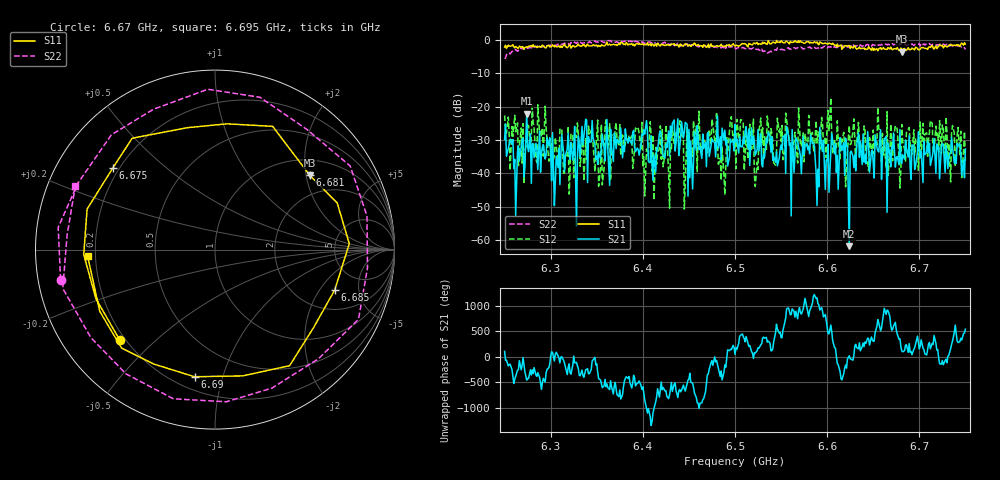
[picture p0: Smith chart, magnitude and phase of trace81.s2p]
# Hz S RI R 50
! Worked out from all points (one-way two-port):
!   401 points, 6.25 GHz to 6.75 GHz, reference 50 ohm
!   highest |S21| = -22.10 dB at 6.274 GHz (marker M1); lowest = -61.8 dB at 6.624 GHz (marker M2)
!   lowest |S11| = -3.5 dB at 6.681 GHz (marker M3), VSWR 5.08, Z = 69.6 + j105 ohm
!   |S11| at or under -10 dB: nowhere
!   |S22| runs from -5.6 to -0.2 dB; largest |S21 - S12| = 0.15
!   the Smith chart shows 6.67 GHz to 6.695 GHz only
!   S11 on the Smith chart (normalised r, x): 6.67 GHz: 0.18, -0.39; 6.675 GHz: 0.18, +0.34; 6.681 GHz: 1.39, +2.10; 6.685 GHz: 3.13, -2.79; 6.69 GHz: 0.28, -0.81; 6.695 GHz: 0.17, -0.02
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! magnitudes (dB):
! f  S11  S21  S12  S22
! 6.25 GHz  -2.1  -29.8  -22.6  -5.6
! 6.274 GHz  -2.1  -22.1  -30.7  -2.4
! 6.306 GHz  -2.1  -34.9  -31.7  -1.6
! 6.334 GHz  -1.9  -25.9  -31.2  -1.0
! 6.418 GHz  -1.7  -28.0  -32.8  -0.9
! 6.44 GHz  -1.5  -32.3  -24.2  -2.0
! 6.446 GHz  -1.2  -24.7  -43.2  -1.5
! 6.478 GHz  -2.0  -30.8  -30.3  -2.2
! 6.488 GHz  -1.9  -29.9  -40.6  -2.3
! 6.5 GHz  -1.8  -25.4  -27.4  -2.3
! 6.584 GHz  -0.8  -31.1  -27.7  -2.6
! 6.589 GHz  -0.6  -49.6  -30.9  -2.5
! 6.606 GHz  -1.0  -30.1  -34.1  -2.2
! 6.624 GHz  -1.6  -61.8  -25.7  -2.0
! 6.668 GHz  -2.7  -34.4  -34.7  -1.4
! 6.67 GHz  -2.7  -31.9  -32.2  -1.1
! 6.675 GHz  -2.7  -35.3  -26.1  -1.4
! 6.681 GHz  -3.5  -37.0  -25.3  -1.2
! 6.685 GHz  -3.0  -30.0  -36.5  -1.5
! 6.69 GHz  -2.9  -38.1  -31.0  -1.4
! 6.695 GHz  -3.0  -38.8  -34.5  -1.4
! 6.75 GHz  -1.2  -32.7  -36.2  -2.8
